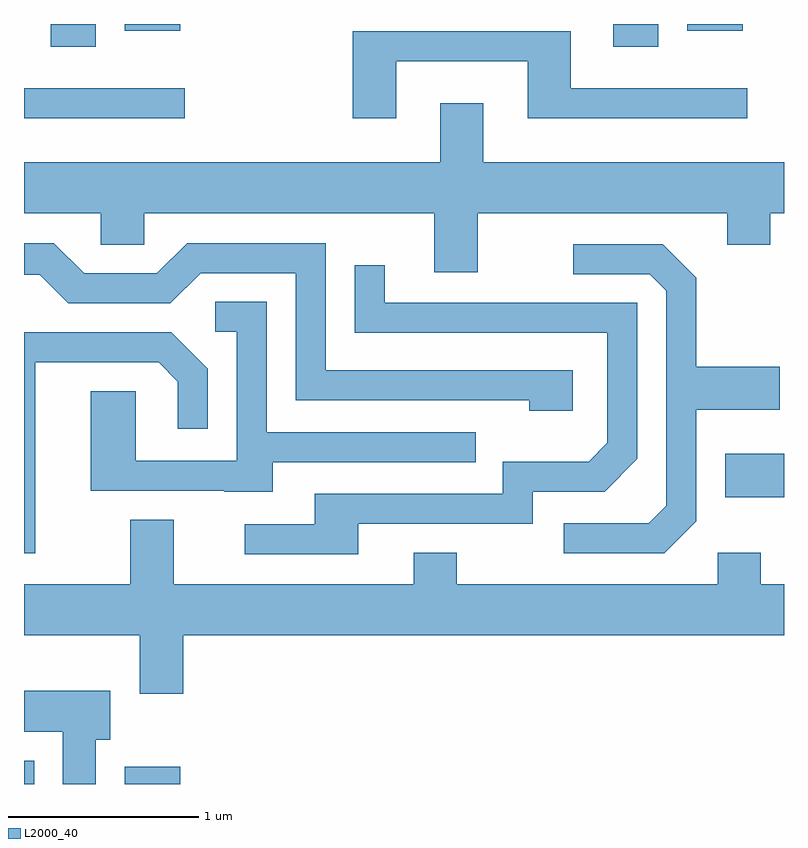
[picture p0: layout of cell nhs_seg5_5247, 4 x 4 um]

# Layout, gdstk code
import gdstk
lib = gdstk.Library(unit=1e-6, precision=1e-09)
def R(c, l, rs):  # rectangles x0, y0, x1, y1
    for r in rs: c.add(gdstk.rectangle(r[:2], r[2:], *l))
def P(c, l, *ps):  # polygons
    for p in ps: c.add(gdstk.Polygon(p, *l))
L2000_40 = (2000, 40)

nhs_seg5_5247 = lib.new_cell('nhs_seg5_5247')
R(nhs_seg5_5247, L2000_40, [(341.611,1396.072,341.664,1396.194), (342.141,1396.072,342.434,1396.164), (345.301,1397.581,345.611,1397.809), (341.611,1399.576,342.458,1399.734), (341.753,1399.951,341.989,1400.072), (344.713,1399.951,344.949,1400.072), (342.141,1400.036,342.434,1400.072), (345.101,1400.036,345.394,1400.072)])
P(nhs_seg5_5247, L2000_40, [(343.569,1399.876),(344.261,1399.876),(344.261,1399.576),(345.418,1399.576),(345.418,1399.734),(344.489,1399.734),(344.489,1400.034),(343.341,1400.034),(343.341,1399.576),(343.569,1399.576)],
  [(343.999,1399.076),(345.311,1399.076),(345.311,1398.911),(345.539,1398.911),(345.539,1399.076),(345.611,1399.076),(345.611,1399.344),(344.029,1399.344),(344.029,1399.654),(343.801,1399.654),(343.801,1399.344),(341.611,1399.344),(341.611,1399.076),(342.016,1399.076),(342.016,1398.911),(342.244,1398.911),(342.244,1399.076),(343.771,1399.076),(343.771,1398.766),(343.999,1398.766)],
  [(344.499,1398.249),(343.199,1398.249),(343.199,1398.919),(342.469,1398.919),(342.309,1398.759),(341.927,1398.759),(341.767,1398.919),(341.611,1398.919),(341.611,1398.751),(341.694,1398.751),(341.844,1398.601),(342.382,1398.601),(342.542,1398.761),(343.041,1398.761),(343.041,1398.091),(344.271,1398.091),(344.271,1398.036),(344.499,1398.036)],
  [(345.149,1397.454),(345.149,1398.041),(345.589,1398.041),(345.589,1398.269),(345.149,1398.269),(345.149,1398.737),(344.972,1398.914),(344.503,1398.914),(344.503,1398.756),(344.904,1398.756),(344.991,1398.669),(344.991,1397.537),(344.899,1397.444),(344.453,1397.444),(344.453,1397.286),(344.982,1397.286)],
  [(343.369,1397.441),(344.289,1397.441),(344.289,1397.611),(344.667,1397.611),(344.839,1397.784),(344.839,1398.604),(343.509,1398.604),(343.509,1398.803),(343.351,1398.803),(343.351,1398.446),(344.681,1398.446),(344.681,1397.867),(344.584,1397.769),(344.131,1397.769),(344.131,1397.599),(343.141,1397.599),(343.141,1397.439),(342.773,1397.439),(342.773,1397.281),(343.369,1397.281)],
  [(342.919,1397.766),(343.988,1397.766),(343.988,1397.924),(342.889,1397.924),(342.889,1398.609),(342.618,1398.609),(342.618,1398.451),(342.731,1398.451),(342.731,1397.774),(342.199,1397.774),(342.199,1398.139),(341.961,1398.139),(341.961,1397.616),(342.665,1397.616),(342.665,1397.611),(342.919,1397.611)],
  [(341.669,1398.291),(342.319,1398.291),(342.421,1398.189),(342.421,1397.943),(342.579,1397.943),(342.579,1398.257),(342.387,1398.449),(341.611,1398.449),(341.611,1397.286),(341.669,1397.286)],
  [(342.449,1396.856),(345.611,1396.856),(345.611,1397.124),(345.489,1397.124),(345.489,1397.289),(345.261,1397.289),(345.261,1397.124),(343.889,1397.124),(343.889,1397.289),(343.661,1397.289),(343.661,1397.124),(342.399,1397.124),(342.399,1397.464),(342.171,1397.464),(342.171,1397.124),(341.611,1397.124),(341.611,1396.856),(342.221,1396.856),(342.221,1396.546),(342.449,1396.546)],
  [(341.989,1396.306),(342.064,1396.306),(342.064,1396.564),(341.611,1396.564),(341.611,1396.346),(341.816,1396.346),(341.816,1396.072),(341.989,1396.072)])

lib.write_gds('nhs_seg5_5247.gds')
